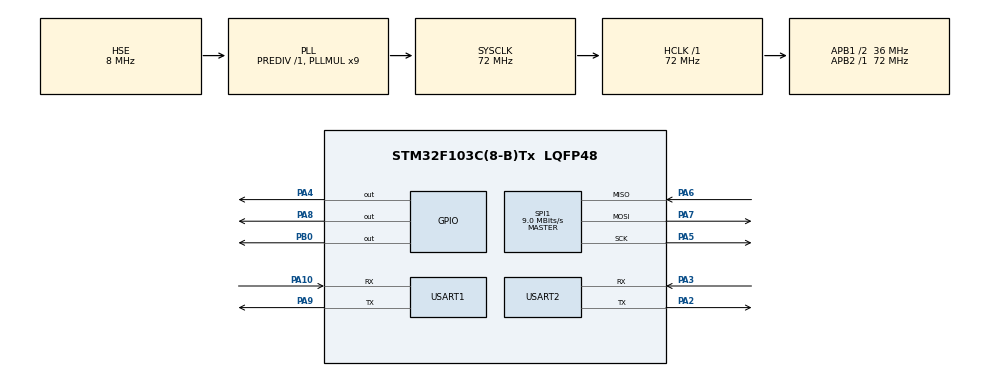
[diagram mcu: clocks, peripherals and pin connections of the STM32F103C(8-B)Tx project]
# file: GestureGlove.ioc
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Mcu.Family=STM32F1
Mcu.Name=STM32F103C(8-B)Tx
Mcu.Package=LQFP48
NVIC.PriorityGroup=NVIC_PRIORITYGROUP_4
PA10.Mode=Asynchronous
PA10.Signal=USART1_RX
PA2.Mode=Asynchronous
PA2.Signal=USART2_TX
PA3.Mode=Asynchronous
PA3.Signal=USART2_RX
PA4.Signal=GPIO_Output
PA5.Mode=Full_Duplex_Master
PA5.Signal=SPI1_SCK
PA6.Mode=Full_Duplex_Master
PA6.Signal=SPI1_MISO
PA7.Mode=Full_Duplex_Master
PA7.Signal=SPI1_MOSI
PA8.Signal=GPIO_Output
PA9.Mode=Asynchronous
PA9.Signal=USART1_TX
PB0.Signal=GPIO_Output
PD0-OSC_IN.Mode=HSE-External-Oscillator
PD0-OSC_IN.Signal=RCC_OSC_IN
PD1-OSC_OUT.Mode=HSE-External-Oscillator
PD1-OSC_OUT.Signal=RCC_OSC_OUT
ProjectManager.HeapSize=0x200
ProjectManager.StackSize=0x400
ProjectManager.TargetToolchain=MDK-ARM V5
RCC.AHBFreq_Value=72000000
RCC.APB1CLKDivider=RCC_HCLK_DIV2
RCC.APB1Freq_Value=36000000
RCC.APB1TimFreq_Value=72000000
RCC.APB2Freq_Value=72000000
RCC.APB2TimFreq_Value=72000000
RCC.HCLKFreq_Value=72000000
RCC.PLLMUL=RCC_PLL_MUL9
RCC.PLLSourceVirtual=RCC_PLLSOURCE_HSE
RCC.SYSCLKFreq_VALUE=72000000
RCC.SYSCLKSource=RCC_SYSCLKSOURCE_PLLCLK
RCC.USBFreq_Value=72000000
SPI1.BaudRatePrescaler=SPI_BAUDRATEPRESCALER_8
SPI1.CalculateBaudRate=9.0 MBits/s
SPI1.Direction=SPI_DIRECTION_2LINES
SPI1.Mode=SPI_MODE_MASTER
SPI1.VirtualType=VM_MASTER
USART1.VirtualMode=VM_ASYNC
USART2.VirtualMode=VM_ASYNC
VP_SYS_VS_ND.Mode=No_Debug
board=custom

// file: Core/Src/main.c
/* USER CODE BEGIN Header */
/**
  ******************************************************************************
  * @file           : main.c
  * @brief          : Main program body
  ******************************************************************************
  * @attention
  *
  * Copyright (c) 2026 STMicroelectronics.
  * All rights reserved.
  *
  * This software is licensed under terms that can be found in the LICENSE file
  * in the root directory of this software component.
  * If no LICENSE file comes with this software, it is provided AS-IS.
  *
  ******************************************************************************
  */
/* USER CODE END Header */
#include "main.h"

/* USER CODE BEGIN Includes */
#include "nrf24l01_receiver.h"
#include "msp_protocol.h"
#include "gesture_mapper.h"
#include <stdio.h>
/* USER CODE END Includes */

SPI_HandleTypeDef hspi1;

UART_HandleTypeDef huart1;
UART_HandleTypeDef huart2;

/* USER CODE BEGIN PV */
// huart2宸茬敱CubeMX鐢熸垚锛屼笉闇€瑕侀噸澶嶅０鏄?

/* USER CODE END PV */

void SystemClock_Config(void);
static void MX_GPIO_Init(void);
static void MX_SPI1_Init(void);
static void MX_USART1_UART_Init(void);
static void MX_USART2_UART_Init(void);

int main(void)
{

  /* MCU Configuration--------------------------------------------------------*/

  /* Reset of all peripherals, Initializes the Flash interface and the Systick. */
  HAL_Init();

  /* Configure the system clock */
  SystemClock_Config();

  /* Initialize all configured peripherals */
  MX_GPIO_Init();
  MX_SPI1_Init();
  MX_USART1_UART_Init();
  MX_USART2_UART_Init();
  /* USER CODE BEGIN 2 */
NRF24L01_Receiver_Init(&hspi1);
if (NRF24L01_Receiver_Check()) {
    HAL_UART_Transmit(&huart1, (uint8_t*)"nRF24L01+ OK\r\n", 14, 100);
} else {
    HAL_UART_Transmit(&huart1, (uint8_t*)"nRF24L01+ FAIL!\r\n", 17, 100);
}
NRF24L01_Receiver_DumpRegs(&huart1);   // 打印关键寄存器，便于排查通信问题
MSP_Init(&huart2);
GestureMapper_Init();
HAL_UART_Transmit(&huart1, (uint8_t*)"System Ready\r\n", 14, 100);

NRF_DataPacket rx_packet = {0};
uint16_t rc_channels[RC_CHANNEL_COUNT];
uint32_t last_send_time = 0;
uint32_t last_debug_time = 0;
uint32_t rx_count = 0;

  /* USER CODE END 2 */

  /* Infinite loop */
  /* USER CODE BEGIN WHILE */
  while (1)
  {

if (NRF24L01_Receiver_Available()) {
    if (NRF24L01_Receiver_Read(&rx_packet)) {
        rx_count++;
        GestureMapper_Update(&rx_packet);
        if (HAL_GetTick() - last_debug_time >= 1000) {
            char buf[100];
            int len = sprintf(buf, "RX#%lu Gesture:%d Roll:%.1f Pitch:%.1f\r\n",
                            rx_count, rx_packet.gesture,
                            rx_packet.roll, rx_packet.pitch);
            HAL_UART_Transmit(&huart1, (uint8_t*)buf, len, 100);
            last_debug_time = HAL_GetTick();
        }
    }
} else if (HAL_GetTick() - last_debug_time >= 1000) {
    // 1秒无数据时打印一次，用于判断无线链路是否中断
    char buf[64];
    int len = sprintf(buf, "No signal. RX#%lu\r\n", rx_count);
    HAL_UART_Transmit(&huart1, (uint8_t*)buf, len, 100);
    last_debug_time = HAL_GetTick();
}
if (HAL_GetTick() - last_send_time >= 20) {
    GestureMapper_GetRCChannels(rc_channels);
    MSP_SendRawRC(rc_channels);
    last_send_time = HAL_GetTick();
}
HAL_Delay(1);

  }
}

void SystemClock_Config(void)
{
  RCC_OscInitTypeDef RCC_OscInitStruct = {0};
  RCC_ClkInitTypeDef RCC_ClkInitStruct = {0};

  /** Initializes the RCC Oscillators according to the specified parameters
  * in the RCC_OscInitTypeDef structure.
  */
  RCC_OscInitStruct.OscillatorType = RCC_OSCILLATORTYPE_HSE;
  RCC_OscInitStruct.HSEState = RCC_HSE_ON;
  RCC_OscInitStruct.HSEPredivValue = RCC_HSE_PREDIV_DIV1;
  RCC_OscInitStruct.HSIState = RCC_HSI_ON;
  RCC_OscInitStruct.PLL.PLLState = RCC_PLL_ON;
  RCC_OscInitStruct.PLL.PLLSource = RCC_PLLSOURCE_HSE;
  RCC_OscInitStruct.PLL.PLLMUL = RCC_PLL_MUL9;
  if (HAL_RCC_OscConfig(&RCC_OscInitStruct) != HAL_OK)
  {
    Error_Handler();
  }

  /** Initializes the CPU, AHB and APB buses clocks
  */
  RCC_ClkInitStruct.ClockType = RCC_CLOCKTYPE_HCLK|RCC_CLOCKTYPE_SYSCLK
                              |RCC_CLOCKTYPE_PCLK1|RCC_CLOCKTYPE_PCLK2;
  RCC_ClkInitStruct.SYSCLKSource = RCC_SYSCLKSOURCE_PLLCLK;
  RCC_ClkInitStruct.AHBCLKDivider = RCC_SYSCLK_DIV1;
  RCC_ClkInitStruct.APB1CLKDivider = RCC_HCLK_DIV2;
  RCC_ClkInitStruct.APB2CLKDivider = RCC_HCLK_DIV1;

  if (HAL_RCC_ClockConfig(&RCC_ClkInitStruct, FLASH_LATENCY_2) != HAL_OK)
  {
    Error_Handler();
  }
}

static void MX_SPI1_Init(void)
{

  /* SPI1 parameter configuration*/
  hspi1.Instance = SPI1;
  hspi1.Init.Mode = SPI_MODE_MASTER;
  hspi1.Init.Direction = SPI_DIRECTION_2LINES;
  hspi1.Init.DataSize = SPI_DATASIZE_8BIT;
  hspi1.Init.CLKPolarity = SPI_POLARITY_LOW;
  hspi1.Init.CLKPhase = SPI_PHASE_1EDGE;
  hspi1.Init.NSS = SPI_NSS_SOFT;
  hspi1.Init.BaudRatePrescaler = SPI_BAUDRATEPRESCALER_8;
  hspi1.Init.FirstBit = SPI_FIRSTBIT_MSB;
  hspi1.Init.TIMode = SPI_TIMODE_DISABLE;
  hspi1.Init.CRCCalculation = SPI_CRCCALCULATION_DISABLE;
  hspi1.Init.CRCPolynomial = 10;
  if (HAL_SPI_Init(&hspi1) != HAL_OK)
  {
    Error_Handler();
  }

}

static void MX_USART1_UART_Init(void)
{

  huart1.Instance = USART1;
  huart1.Init.BaudRate = 115200;
  huart1.Init.WordLength = UART_WORDLENGTH_8B;
  huart1.Init.StopBits = UART_STOPBITS_1;
  huart1.Init.Parity = UART_PARITY_NONE;
  huart1.Init.Mode = UART_MODE_TX_RX;
  huart1.Init.HwFlowCtl = UART_HWCONTROL_NONE;
  huart1.Init.OverSampling = UART_OVERSAMPLING_16;
  if (HAL_UART_Init(&huart1) != HAL_OK)
  {
    Error_Handler();
  }

}

static void MX_USART2_UART_Init(void)
{

  huart2.Instance = USART2;
  huart2.Init.BaudRate = 115200;
  huart2.Init.WordLength = UART_WORDLENGTH_8B;
  huart2.Init.StopBits = UART_STOPBITS_1;
  huart2.Init.Parity = UART_PARITY_NONE;
  huart2.Init.Mode = UART_MODE_TX_RX;
  huart2.Init.HwFlowCtl = UART_HWCONTROL_NONE;
  huart2.Init.OverSampling = UART_OVERSAMPLING_16;
  if (HAL_UART_Init(&huart2) != HAL_OK)
  {
    Error_Handler();
  }

}

static void MX_GPIO_Init(void)
{
  GPIO_InitTypeDef GPIO_InitStruct = {0};

  /* GPIO Ports Clock Enable */
  __HAL_RCC_GPIOD_CLK_ENABLE();
  __HAL_RCC_GPIOA_CLK_ENABLE();
  __HAL_RCC_GPIOB_CLK_ENABLE();

  /*Configure GPIO pin Output Level */
  HAL_GPIO_WritePin(GPIOA, GPIO_PIN_4|GPIO_PIN_8, GPIO_PIN_RESET);

  /*Configure GPIO pin Output Level */
  HAL_GPIO_WritePin(GPIOB, GPIO_PIN_0, GPIO_PIN_RESET);

  /*Configure GPIO pins : PA4 PA8 */
  GPIO_InitStruct.Pin = GPIO_PIN_4|GPIO_PIN_8;
  GPIO_InitStruct.Mode = GPIO_MODE_OUTPUT_PP;
  GPIO_InitStruct.Pull = GPIO_NOPULL;
  GPIO_InitStruct.Speed = GPIO_SPEED_FREQ_LOW;
  HAL_GPIO_Init(GPIOA, &GPIO_InitStruct);

  /*Configure GPIO pin : PB0 */
  GPIO_InitStruct.Pin = GPIO_PIN_0;
  GPIO_InitStruct.Mode = GPIO_MODE_OUTPUT_PP;
  GPIO_InitStruct.Pull = GPIO_NOPULL;
  GPIO_InitStruct.Speed = GPIO_SPEED_FREQ_LOW;
  HAL_GPIO_Init(GPIOB, &GPIO_InitStruct);

}

void Error_Handler(void)
{
  __disable_irq();
  while (1)
  {
  }
}
